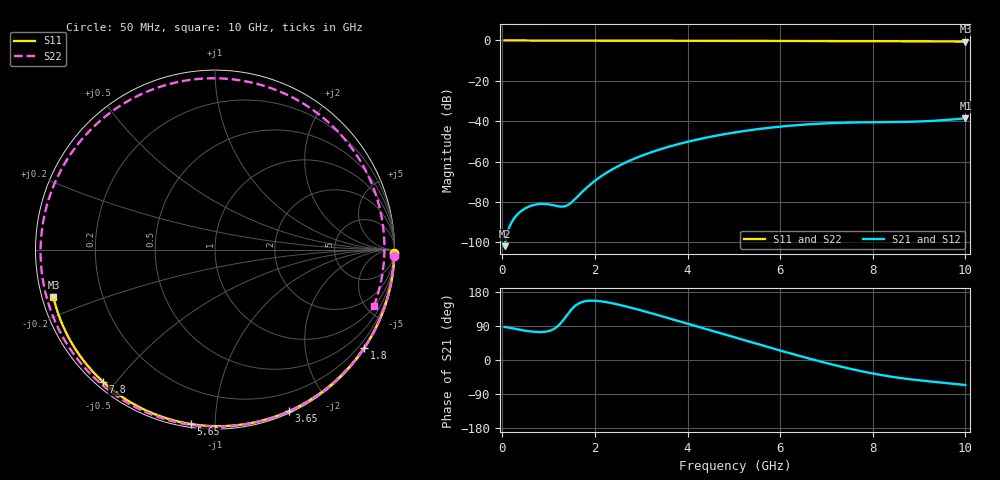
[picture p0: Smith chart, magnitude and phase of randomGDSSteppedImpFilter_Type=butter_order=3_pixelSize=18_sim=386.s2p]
! freq	dB(S11)	phase(S11)	dB(S12)	phase(S12)
!  dB(S21)	phase(S21)	dB(S22)	phase(S22)
!S-par simulation data
#  GHz  S  DB  R 50
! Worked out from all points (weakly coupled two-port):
!   200 points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, 50 MHz to 10 GHz, reference 50 ohm
!   highest |S21| = -38.53 dB at 10 GHz (marker M1); lowest = -101.9 dB at 50 MHz (marker M2)
!   lowest |S11| = -0.6 dB at 10 GHz (marker M3), VSWR 31.55, Z = 1.62 - j7.21 ohm
!   |S11| at or under -10 dB: nowhere
!   |S22| runs from -0.5 to 0.0 dB; largest |S21 - S12| = 0
!   S11 on the Smith chart (normalised r, x): 50 MHz: open; 1.8 GHz: 0.03, -3.35; 3.65 GHz: 0.02, -1.55; 5.65 GHz: 0.02, -0.87; 7.8 GHz: 0.02, -0.46; 10 GHz: 0.03, -0.14
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0.05  -0.00 -1.0  -101.90 87.2  -101.90 87.2  -0.00 -2.0
0.75  -0.02 -14.0  -81.18 73.8  -81.18 73.8  -0.03 -28.9
1.5  -0.04 -27.8  -80.11 134.4  -80.11 134.4  -0.07 -57.0
1.75  -0.04 -32.3  -74.49 153.9  -74.49 153.9  -0.08 -66.2
1.8  -0.04 -33.3  -73.41 155.3  -73.41 155.3  -0.09 -68.0
2.1  -0.05 -38.6  -67.84 155.3  -67.84 155.3  -0.10 -78.8
2.45  -0.06 -44.9  -62.91 147.8  -62.91 147.8  -0.11 -91.2
2.9  -0.07 -52.7  -58.09 134.1  -58.09 134.1  -0.13 -106.8
3.4  -0.08 -61.3  -53.99 117.1  -53.99 117.1  -0.15 -123.9
3.65  -0.09 -65.6  -52.29 108.3  -52.29 108.3  -0.17 -132.4
4.35  -0.11 -77.2  -48.39 83.4  -48.39 83.4  -0.21 -156.2
5.05  -0.14 -88.4  -45.46 58.4  -45.46 58.4  -0.25 179.4
5.65  -0.16 -97.8  -43.57 37.2  -43.57 37.2  -0.29 157.7
6.15  -0.19 -105.5  -42.37 19.8  -42.37 19.8  -0.33 138.7
6.7  -0.22 -113.9  -41.42 1.5  -41.42 1.5  -0.37 116.9
7.25  -0.26 -122.1  -40.83 -15.7  -40.83 -15.7  -0.40 94.0
7.8  -0.31 -130.3  -40.55 -30.8  -40.55 -30.8  -0.43 70.4
8.35  -0.36 -138.5  -40.43 -43.0  -40.43 -43.0  -0.45 46.7
8.75  -0.40 -144.4  -40.30 -49.9  -40.30 -49.9  -0.46 29.7
9.15  -0.44 -150.5  -40.00 -55.4  -40.00 -55.4  -0.48 13.2
9.55  -0.49 -156.6  -39.45 -60.3  -39.45 -60.3  -0.51 -2.6
10  -0.55 -163.6  -38.53 -66.1  -38.53 -66.1  -0.54 -19.4
